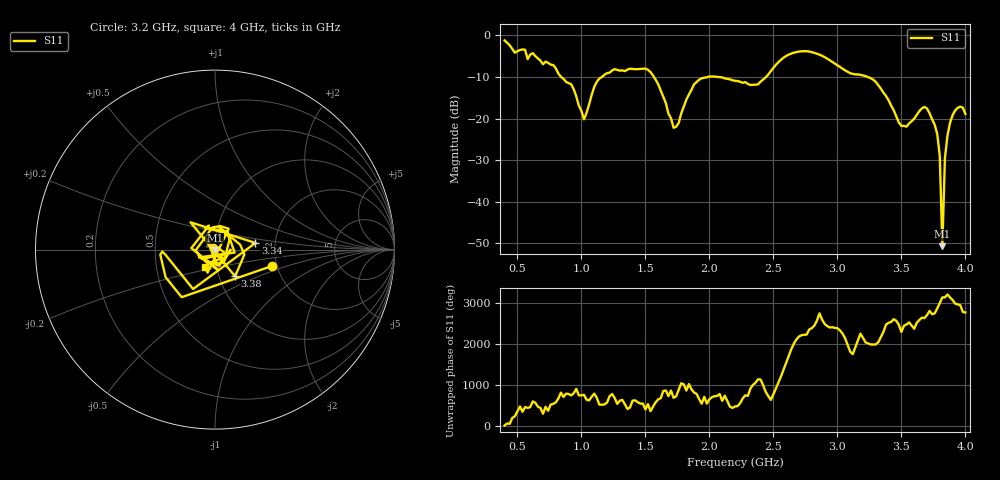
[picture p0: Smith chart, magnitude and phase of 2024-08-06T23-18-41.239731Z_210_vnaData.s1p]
!Created with skrf (http://scikit-rf.org).
# Hz S RI R 50.0
!freq ReS11 ImS11
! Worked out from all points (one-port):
!   181 points, 400 MHz to 4 GHz, reference 50 ohm
!   lowest |S11| = -50.8 dB at 3.82 GHz (marker M1), VSWR 1.01, Z = 49.9 - j0.265 ohm
!   |S11| at or under -10 dB: 1.567 GHz to 1.987 GHz (420.5 MHz wide, 23.7 % of centre); 2.069 GHz to 2.442 GHz (373.4 MHz wide, 16.6 % of centre); 3.238 GHz to end of sweep (the widest 3 of 4)
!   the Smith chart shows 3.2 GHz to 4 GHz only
!   S11 on the Smith chart (normalised r, x): 3.2 GHz: 1.88, -0.39; 3.34 GHz: 1.58, +0.12; 3.38 GHz: 1.19, -0.37; 4 GHz: 0.88, -0.18
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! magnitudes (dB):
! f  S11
! 400 MHz  -1.2
! 860 MHz  -10.4
! 940 MHz  -13.0
! 1.02 GHz  -20.2
! 1.12 GHz  -11.2
! 1.3 GHz  -8.5
! 1.52 GHz  -8.3
! 1.6 GHz  -11.8
! 1.72 GHz  -22.2
! 1.76 GHz  -21.1
! 1.92 GHz  -10.6
! 2.2 GHz  -10.9
! 2.38 GHz  -11.8
! 2.66 GHz  -4.1
! 3.1 GHz  -9.1
! 3.2 GHz  -9.6
! 3.34 GHz  -12.8
! 3.38 GHz  -14.6
! 3.5 GHz  -21.8
! 3.56 GHz  -21.2
! 3.68 GHz  -17.2
! 3.78 GHz  -23.7
! 3.8 GHz  -29.1
! 3.82 GHz  -50.8
! 3.84 GHz  -29.5
! 3.86 GHz  -24.1
! 3.92 GHz  -18.1
! 4 GHz  -18.9
